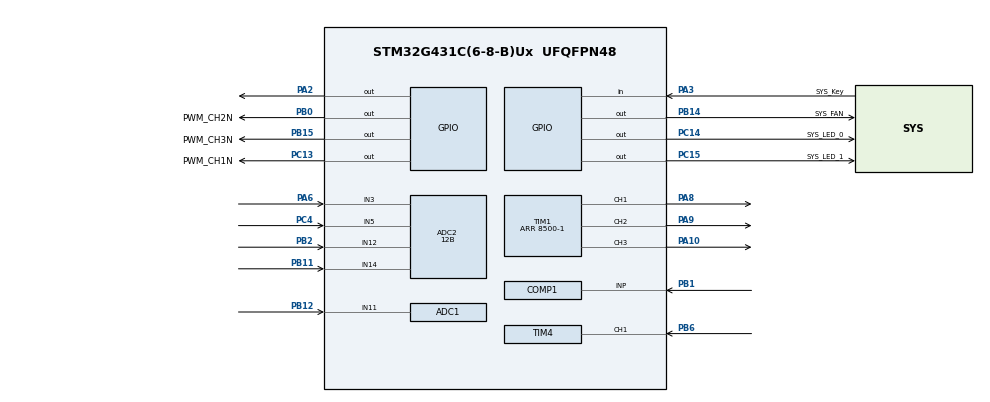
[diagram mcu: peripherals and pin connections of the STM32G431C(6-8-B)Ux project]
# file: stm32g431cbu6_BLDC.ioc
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ADC1.Channel-0\#ChannelRegularConversion=ADC_CHANNEL_11
ADC1.EnableInjectedConversion=ENABLE
ADC1.ExternalTrigInjecConv=ADC_EXTERNALTRIGINJEC_T1_TRGO2
ADC1.ExternalTrigInjecConvEdge=ADC_EXTERNALTRIGINJECCONV_EDGE_FALLING
ADC1.InjNumberOfConversion=1
ADC1.InjectedChannel-1\#ChannelInjectedConversion=ADC_CHANNEL_12
ADC1.InjectedOffsetNumber-1\#ChannelInjectedConversion=ADC_OFFSET_NONE
ADC1.InjectedRank-1\#ChannelInjectedConversion=1
ADC1.InjectedSamplingTime-1\#ChannelInjectedConversion=ADC_SAMPLETIME_2CYCLES_5
ADC1.NbrOfConversion=1
ADC1.NbrOfConversionFlag=1
ADC1.OffsetNumber-0\#ChannelRegularConversion=ADC_OFFSET_NONE
ADC1.Rank-0\#ChannelRegularConversion=1
ADC1.Rank1_Channel=ADC_CHANNEL_12
ADC1.Rank3_Channel=ADC_CHANNEL_11
ADC1.Resolution=ADC_RESOLUTION_12B
ADC1.SamplingTime-0\#ChannelRegularConversion=ADC_SAMPLETIME_6CYCLES_5
ADC1.master=1
ADC2.Channel-8\#ChannelRegularConversion=ADC_CHANNEL_12
ADC2.EnableInjectedConversion=ENABLE
ADC2.EnableRegularConversion=ENABLE
ADC2.ExternalTrigInjecConv=ADC_EXTERNALTRIGINJEC_T1_TRGO2
ADC2.ExternalTrigInjecConvEdge=ADC_EXTERNALTRIGINJECCONV_EDGE_FALLING
ADC2.InjNumberOfConversion=4
ADC2.InjectedChannel-10\#ChannelInjectedConversion=ADC_CHANNEL_3
ADC2.InjectedChannel-11\#ChannelInjectedConversion=ADC_CHANNEL_3
ADC2.InjectedChannel-7\#ChannelInjectedConversion=ADC_CHANNEL_3
ADC2.InjectedChannel-9\#ChannelInjectedConversion=ADC_CHANNEL_3
ADC2.InjectedOffsetNumber-10\#ChannelInjectedConversion=ADC_OFFSET_NONE
ADC2.InjectedOffsetNumber-11\#ChannelInjectedConversion=ADC_OFFSET_NONE
ADC2.InjectedOffsetNumber-7\#ChannelInjectedConversion=ADC_OFFSET_NONE
ADC2.InjectedOffsetNumber-9\#ChannelInjectedConversion=ADC_OFFSET_NONE
ADC2.InjectedRank-10\#ChannelInjectedConversion=3
ADC2.InjectedRank-11\#ChannelInjectedConversion=4
ADC2.InjectedRank-7\#ChannelInjectedConversion=1
ADC2.InjectedRank-9\#ChannelInjectedConversion=2
ADC2.InjectedSamplingTime-10\#ChannelInjectedConversion=ADC_SAMPLETIME_2CYCLES_5
ADC2.InjectedSamplingTime-11\#ChannelInjectedConversion=ADC_SAMPLETIME_2CYCLES_5
ADC2.InjectedSamplingTime-7\#ChannelInjectedConversion=ADC_SAMPLETIME_2CYCLES_5
ADC2.InjectedSamplingTime-9\#ChannelInjectedConversion=ADC_SAMPLETIME_2CYCLES_5
ADC2.NbrOfConversionFlag=1
ADC2.OffsetNumber-8\#ChannelRegularConversion=ADC_OFFSET_NONE
ADC2.Rank-8\#ChannelRegularConversion=1
ADC2.Rank2_Channel=ADC_CHANNEL_3
ADC2.Rank3_Channel=ADC_CHANNEL_3
ADC2.Rank4_Channel=ADC_CHANNEL_3
ADC2.Resolution=ADC_RESOLUTION_12B
ADC2.SamplingTime-8\#ChannelRegularConversion=ADC_SAMPLETIME_6CYCLES_5
COMP1.Hysteresis=COMP_HYSTERESIS_70MV
COMP1.OutputPol=COMP_OUTPUTPOL_NONINVERTED
Dma.Request0=TIM4_CH1
Dma.TIM4_CH1.0.Direction=DMA_PERIPH_TO_MEMORY
Dma.TIM4_CH1.0.EventEnable=DISABLE
Dma.TIM4_CH1.0.Instance=DMA1_Channel1
Dma.TIM4_CH1.0.MemDataAlignment=DMA_MDATAALIGN_HALFWORD
Dma.TIM4_CH1.0.MemInc=DMA_MINC_ENABLE
Dma.TIM4_CH1.0.Mode=DMA_NORMAL
Dma.TIM4_CH1.0.PeriphDataAlignment=DMA_PDATAALIGN_HALFWORD
Dma.TIM4_CH1.0.PeriphInc=DMA_PINC_DISABLE
Dma.TIM4_CH1.0.Polarity=HAL_DMAMUX_REQ_GEN_RISING
Dma.TIM4_CH1.0.Priority=DMA_PRIORITY_LOW
Dma.TIM4_CH1.0.RequestNumber=1
Dma.TIM4_CH1.0.SignalID=NONE
Dma.TIM4_CH1.0.SyncEnable=DISABLE
Dma.TIM4_CH1.0.SyncPolarity=HAL_DMAMUX_SYNC_NO_EVENT
Dma.TIM4_CH1.0.SyncRequestNumber=1
Dma.TIM4_CH1.0.SyncSignalID=NONE
Mcu.Family=STM32G4
Mcu.Name=STM32G431C(6-8-B)Ux
Mcu.Package=UFQFPN48
NVIC.ADC1_2_IRQn=true\:3\:0\:true\:false\:true\:true\:true\:true
NVIC.DMA1_Channel1_IRQn=true\:0\:0\:false\:false\:true\:false\:true\:true
NVIC.PriorityGroup=NVIC_PRIORITYGROUP_4
NVIC.TIM4_IRQn=true\:7\:0\:true\:false\:true\:true\:true\:true
PA10.Signal=S_TIM1_CH3
PA13.Mode=Serial_Wire
PA13.Signal=SYS_JTMS-SWDIO
PA14.Mode=Serial_Wire
PA14.Signal=SYS_JTCK-SWCLK
PA2.GPIO_Speed=GPIO_SPEED_FREQ_VERY_HIGH
PA2.Signal=GPIO_Output
PA3.GPIO_Label=SYS_Key
PA3.Signal=GPIO_Input
PA6.Mode=IN3-Single-Ended
PA6.Signal=ADC2_IN3
PA8.Signal=S_TIM1_CH1
PA9.Signal=S_TIM1_CH2
PB0.GPIO_Label=PWM_CH2N
PB0.GPIO_Speed=GPIO_SPEED_FREQ_LOW
PB0.Signal=GPIO_Output
PB1.Signal=SharedAnalog_PB1
PB11.Mode=IN14-Single-Ended
PB11.Signal=ADC2_IN14
PB12.Mode=IN11-Single-Ended
PB12.Signal=ADC1_IN11
PB14.GPIO_Label=SYS_FAN
PB14.Signal=GPIO_Output
PB15.GPIO_Label=PWM_CH3N
PB15.Signal=GPIO_Output
PB2.Mode=IN12-Single-Ended
PB2.Signal=ADC2_IN12
PB6.Signal=S_TIM4_CH1
PC13.GPIO_Label=PWM_CH1N
PC13.Signal=GPIO_Output
PC14-OSC32_IN.GPIO_Label=SYS_LED_0
PC14-OSC32_IN.Signal=GPIO_Output
PC15-OSC32_OUT.GPIO_Label=SYS_LED_1
PC15-OSC32_OUT.Signal=GPIO_Output
PC4.Mode=IN5-Single-Ended
PC4.Signal=ADC2_IN5
PF0-OSC_IN.Mode=HSE-External-Oscillator
PF0-OSC_IN.Signal=RCC_OSC_IN
PF1-OSC_OUT.Mode=HSE-External-Oscillator
PF1-OSC_OUT.Signal=RCC_OSC_OUT
ProjectManager.HeapSize=0x200
ProjectManager.StackSize=0x400
ProjectManager.TargetToolchain=MDK-ARM V5.32
RCC.ADC12Freq_Value=170000000
RCC.AHBFreq_Value=170000000
RCC.APB1Freq_Value=170000000
RCC.APB1TimFreq_Value=170000000
RCC.APB2Freq_Value=170000000
RCC.APB2TimFreq_Value=170000000
RCC.CK48CLockSelection=RCC_USBCLKSOURCE_HSI48
RCC.CortexFreq_Value=170000000
RCC.EXTERNAL_CLOCK_VALUE=12288000
RCC.HCLKFreq_Value=170000000
RCC.HSE_VALUE=8000000
RCC.HSI48_VALUE=48000000
RCC.HSI_VALUE=16000000
RCC.LSE_VALUE=32768
RCC.PLLM=RCC_PLLM_DIV2
RCC.PLLN=85
RCC.PLLQ=RCC_PLLQ_DIV4
RCC.PLLSourceVirtual=RCC_PLLSOURCE_HSE
RCC.SYSCLKFreq_VALUE=170000000
RCC.SYSCLKSource=RCC_SYSCLKSOURCE_PLLCLK
RCC.USBFreq_Value=48000000
RCC.VCOOutputFreq_Value=340000000
SH.S_TIM1_CH1.0=TIM1_CH1,PWM Generation1 CH1
SH.S_TIM1_CH2.0=TIM1_CH2,PWM Generation2 CH2
SH.S_TIM1_CH3.0=TIM1_CH3,PWM Generation3 CH3
SH.S_TIM4_CH1.0=TIM4_CH1,PWM_Input_1
SH.SharedAnalog_PB1.0=COMP1_INP,INP
SH.SharedAnalog_PB1.1=ADC1_IN12,IN12-Single-Ended
TIM1.Break2State=TIM_BREAK2_DISABLE
TIM1.BreakFilter=8
TIM1.BreakPolarity=TIM_BREAKPOLARITY_HIGH
TIM1.BreakState=TIM_BREAK_ENABLE
TIM1.Channel-PWM\ Generation1\ CH1=TIM_CHANNEL_1
TIM1.Channel-PWM\ Generation2\ CH2=TIM_CHANNEL_2
TIM1.Channel-PWM\ Generation3\ CH3=TIM_CHANNEL_3
TIM1.Channel-PWM\ Generation4\ No\ Output=TIM_CHANNEL_4
TIM1.OC1Preload_PWM=DISABLE
TIM1.OC2Preload_PWM=DISABLE
TIM1.OC3Preload_PWM=DISABLE
TIM1.OC4Preload_PWM=DISABLE
TIM1.PeriodNoDither=8500-1
TIM1.SourceBRKCOMP1=TIM_BREAKINPUTSOURCE_ENABLE
TIM1.SourceBRKCOMP1Polarity=TIM_BREAKINPUTSOURCE_POLARITY_HIGH
TIM1.TIM_MasterOutputTrigger=TIM_TRGO_RESET
TIM1.TIM_MasterOutputTrigger2=TIM_TRGO2_OC4REF
TIM1.TIM_MasterSlaveMode=TIM_MASTERSLAVEMODE_DISABLE
TIM4.Channel-Output\ Compare3\ No\ Output=TIM_CHANNEL_3
TIM4.ICFilter_1=1
TIM4.ICFilter_2=1
TIM4.ICPolarity_1=TIM_INPUTCHANNELPOLARITY_RISING
TIM4.OCMode_3=TIM_OCMODE_ACTIVE
TIM4.PeriodNoDither=65535
VP_ADC1_TempSens_Input.Mode=IN-TempSens
VP_COMP1_VS_DAC1OUT1.Mode=INM_DAC1OUT1
VP_DAC1_VS_DACI1.Mode=DAC_OUT1_Int
VP_SYS_VS_DBSignals.Mode=DisableDeadBatterySignals
VP_SYS_V_VREFBUF.Mode=ExternalMode
VP_TIM1_VS_ClockSourceINT.Mode=Internal
VP_TIM1_VS_no_output4.Mode=PWM Generation4 No Output
VP_TIM4_VS_ClockSourceINT.Mode=Internal
VP_TIM4_VS_no_output3.Mode=Output Compare3 No Output
board=custom

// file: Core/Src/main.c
/* USER CODE BEGIN Header */
/**
  ******************************************************************************
  * @file           : main.c
  * @brief          : Main program body
  ******************************************************************************
  * @attention
  *
  * Copyright (c) 2024 STMicroelectronics.
  * All rights reserved.
  *
  * This software is licensed under terms that can be found in the LICENSE file
  * in the root directory of this software component.
  * If no LICENSE file comes with this software, it is provided AS-IS.
  *
  ******************************************************************************
  */
/* USER CODE END Header */
#include "main.h"

/* USER CODE BEGIN Includes */
#include "dShoot.h"
/* USER CODE END Includes */

void SystemClock_Config(void);
static void MX_GPIO_Init(void);
static void MX_ADC1_Init(void);
static void MX_COMP1_Init(void);
static void MX_DAC1_Init(void);
static void MX_TIM1_Init(void);
static void MX_DMA_Init(void);
static void MX_ADC2_Init(void);
static void MX_TIM4_Init(void);

int main(void)
{

  /* MCU Configuration--------------------------------------------------------*/

  /* Reset of all peripherals, Initializes the Flash interface and the Systick. */
  LL_APB2_GRP1_EnableClock(LL_APB2_GRP1_PERIPH_SYSCFG);
  LL_APB1_GRP1_EnableClock(LL_APB1_GRP1_PERIPH_PWR);

  /* System interrupt init*/
  NVIC_SetPriorityGrouping(NVIC_PRIORITYGROUP_4);

  /* SysTick_IRQn interrupt configuration */
  NVIC_SetPriority(SysTick_IRQn, NVIC_EncodePriority(NVIC_GetPriorityGrouping(),5, 0));

  /** Disable the Internal Voltage Reference buffer
  */
  LL_VREFBUF_Disable();

  /** Configure the internal voltage reference buffer high impedance mode
  */
  LL_VREFBUF_EnableHIZ();

  /** Disable the internal Pull-Up in Dead Battery pins of UCPD peripheral
  */
  LL_PWR_DisableUCPDDeadBattery();

  /* Configure the system clock */
  SystemClock_Config();

  /* USER CODE BEGIN SysInit */
  uint32_t isBootFromMainFlash = READ_BIT(FLASH->SEC1R,FLASH_SEC1R_BOOT_LOCK);
  if(!isBootFromMainFlash){
    WRITE_REG(FLASH->KEYR,0x45670123);
    WRITE_REG(FLASH->KEYR,0xCDEF89AB);
    WRITE_REG(FLASH->OPTKEYR,0x08192A3B);
    WRITE_REG(FLASH->OPTKEYR,0x4C5D6E7F);
    while(READ_BIT(FLASH->SR,FLASH_SR_BSY));
    CLEAR_BIT(FLASH->CR,FLASH_CR_OPTLOCK);
    SET_BIT(FLASH->SEC1R,FLASH_SEC1R_BOOT_LOCK);
    SET_BIT(FLASH->CR,FLASH_CR_OPTSTRT);
    while(READ_BIT(FLASH->SR,FLASH_SR_BSY));
  }
  /* USER CODE END SysInit */

  /* Initialize all configured peripherals */
  MX_DMA_Init();
  MX_GPIO_Init();
  MX_ADC1_Init();
  MX_COMP1_Init();
  MX_DAC1_Init();
  MX_TIM1_Init();
  MX_ADC2_Init();
  MX_TIM4_Init();
  /* USER CODE BEGIN 2 */
  /*===========================TIM15 CH1 CDebug===============================*/
//  LL_TIM_CC_EnableChannel(TIM15,LL_TIM_CHANNEL_CH1);
//	LL_TIM_EnableAllOutputs(TIM15);
//	LL_TIM_EnableCounter(TIM15);
  /*===========================TIM4 CH1 CH2 CH3 dShot Input===============================*/
  LL_DMA_SetPeriphRequest(DMA1, LL_DMA_CHANNEL_1, LL_DMAMUX_REQ_TIM4_CH2);
  LL_TIM_OC_SetCompareCH3(TIM4,283 * 2);
//  LL_TIM_EnableIT_CC2(TIM4);

  LL_DMA_ConfigAddresses(DMA1,LL_DMA_CHANNEL_1,(uint32_t)&TIM4->CCR2,dShoot_GetReceiveBufferAddress(),LL_DMA_DIRECTION_PERIPH_TO_MEMORY);
	LL_TIM_EnableDMAReq_CC2(TIM4);
	LL_DMA_ClearFlag_TC1(DMA1);

  /*===========================OCP===============================*/
  LL_DAC_Enable(DAC1,LL_DAC_CHANNEL_1);
  LL_DAC_ConvertData12RightAligned(DAC1,LL_DAC_CHANNEL_1,3600);
  LL_DAC_TrigSWConversion(DAC1,LL_DAC_CHANNEL_1);
  while(READ_BIT(DAC1->SWTRIGR,(LL_DAC_CHANNEL_1 & DAC_SWTR_CHX_MASK)));
  LL_COMP_Enable(COMP1);
  /*===========================ADC===============================*/
  LL_ADC_StartCalibration(ADC1,LL_ADC_SINGLE_ENDED);
  while(LL_ADC_IsCalibrationOnGoing(ADC1)){

  }
  LL_ADC_StartCalibration(ADC2,LL_ADC_SINGLE_ENDED);
  while(LL_ADC_IsCalibrationOnGoing(ADC2)){

  }
	LL_ADC_INJ_StartConversion(ADC1);
  LL_ADC_Enable(ADC1);
  LL_ADC_INJ_StartConversion(ADC2);
  LL_ADC_Enable(ADC2);
  /*===========================Timer 1 : Driver 3 Phase===============================*/
  LL_TIM_EnableBRK(TIM1);
  /*===========================IT Enable===============================*/
  LL_ADC_EnableIT_JEOS(ADC2);

  LL_TIM_EnableIT_CC3(TIM4);
  LL_TIM_EnableIT_CC1(TIM4);
  LL_TIM_CC_EnableChannel(TIM4,LL_TIM_CHANNEL_CH1);
  LL_TIM_CC_EnableChannel(TIM4,LL_TIM_CHANNEL_CH2);
  LL_TIM_EnableCounter(TIM4);

//  LL_GPIO_SetOutputPin(GPIOB,LL_GPIO_PIN_14);

  LL_SYSTICK_EnableIT();
  NVIC_EnableIRQ(SysTick_IRQn);
  /* USER CODE END 2 */

  /* Infinite loop */
  while (1)
  {

  }
}

void SystemClock_Config(void)
{
  LL_FLASH_SetLatency(LL_FLASH_LATENCY_4);
  while(LL_FLASH_GetLatency() != LL_FLASH_LATENCY_4)
  {
  }
  LL_PWR_EnableRange1BoostMode();
  LL_RCC_HSE_Enable();
   /* Wait till HSE is ready */
  while(LL_RCC_HSE_IsReady() != 1)
  {
  }

  LL_RCC_PLL_ConfigDomain_SYS(LL_RCC_PLLSOURCE_HSE, LL_RCC_PLLM_DIV_2, 85, LL_RCC_PLLR_DIV_2);
  LL_RCC_PLL_EnableDomain_SYS();
  LL_RCC_PLL_Enable();
   /* Wait till PLL is ready */
  while(LL_RCC_PLL_IsReady() != 1)
  {
  }

  LL_RCC_SetSysClkSource(LL_RCC_SYS_CLKSOURCE_PLL);
  LL_RCC_SetAHBPrescaler(LL_RCC_SYSCLK_DIV_2);
   /* Wait till System clock is ready */
  while(LL_RCC_GetSysClkSource() != LL_RCC_SYS_CLKSOURCE_STATUS_PLL)
  {
  }

  /* Insure 1?s transition state at intermediate medium speed clock based on DWT */
  CoreDebug->DEMCR |= CoreDebug_DEMCR_TRCENA_Msk;
  DWT->CTRL |= DWT_CTRL_CYCCNTENA_Msk;
  DWT->CYCCNT = 0;
  while(DWT->CYCCNT < 100);
  /* Set AHB prescaler*/
  LL_RCC_SetAHBPrescaler(LL_RCC_SYSCLK_DIV_1);
  LL_RCC_SetAPB1Prescaler(LL_RCC_APB1_DIV_1);
  LL_RCC_SetAPB2Prescaler(LL_RCC_APB2_DIV_1);

  LL_Init1msTick(170000000);

  LL_SetSystemCoreClock(170000000);
}

static void MX_ADC1_Init(void)
{

  LL_ADC_InitTypeDef ADC_InitStruct = {0};
  LL_ADC_REG_InitTypeDef ADC_REG_InitStruct = {0};
  LL_ADC_CommonInitTypeDef ADC_CommonInitStruct = {0};
  LL_ADC_INJ_InitTypeDef ADC_INJ_InitStruct = {0};

  LL_GPIO_InitTypeDef GPIO_InitStruct = {0};

  LL_RCC_SetADCClockSource(LL_RCC_ADC12_CLKSOURCE_SYSCLK);

  /* Peripheral clock enable */
  LL_AHB2_GRP1_EnableClock(LL_AHB2_GRP1_PERIPH_ADC12);

  LL_AHB2_GRP1_EnableClock(LL_AHB2_GRP1_PERIPH_GPIOB);
  /**ADC1 GPIO Configuration
  PB1   ------> ADC1_IN12
  PB12   ------> ADC1_IN11
  */
  GPIO_InitStruct.Pin = LL_GPIO_PIN_1;
  GPIO_InitStruct.Mode = LL_GPIO_MODE_ANALOG;
  GPIO_InitStruct.Pull = LL_GPIO_PULL_NO;
  LL_GPIO_Init(GPIOB, &GPIO_InitStruct);

  GPIO_InitStruct.Pin = LL_GPIO_PIN_12;
  GPIO_InitStruct.Mode = LL_GPIO_MODE_ANALOG;
  GPIO_InitStruct.Pull = LL_GPIO_PULL_NO;
  LL_GPIO_Init(GPIOB, &GPIO_InitStruct);

  /* ADC1 interrupt Init */
  NVIC_SetPriority(ADC1_2_IRQn, NVIC_EncodePriority(NVIC_GetPriorityGrouping(),3, 0));
  NVIC_EnableIRQ(ADC1_2_IRQn);

  /** Common config
  */
  ADC_InitStruct.Resolution = LL_ADC_RESOLUTION_12B;
  ADC_InitStruct.DataAlignment = LL_ADC_DATA_ALIGN_RIGHT;
  ADC_InitStruct.LowPowerMode = LL_ADC_LP_MODE_NONE;
  LL_ADC_Init(ADC1, &ADC_InitStruct);
  ADC_REG_InitStruct.TriggerSource = LL_ADC_REG_TRIG_SOFTWARE;
  ADC_REG_InitStruct.SequencerLength = LL_ADC_REG_SEQ_SCAN_DISABLE;
  ADC_REG_InitStruct.SequencerDiscont = LL_ADC_REG_SEQ_DISCONT_DISABLE;
  ADC_REG_InitStruct.ContinuousMode = LL_ADC_REG_CONV_SINGLE;
  ADC_REG_InitStruct.DMATransfer = LL_ADC_REG_DMA_TRANSFER_NONE;
  ADC_REG_InitStruct.Overrun = LL_ADC_REG_OVR_DATA_PRESERVED;
  LL_ADC_REG_Init(ADC1, &ADC_REG_InitStruct);
  LL_ADC_SetGainCompensation(ADC1, 0);
  LL_ADC_SetOverSamplingScope(ADC1, LL_ADC_OVS_DISABLE);
  ADC_CommonInitStruct.CommonClock = LL_ADC_CLOCK_SYNC_PCLK_DIV4;
  ADC_CommonInitStruct.Multimode = LL_ADC_MULTI_INDEPENDENT;
  LL_ADC_CommonInit(__LL_ADC_COMMON_INSTANCE(ADC1), &ADC_CommonInitStruct);
  ADC_INJ_InitStruct.TriggerSource = LL_ADC_INJ_TRIG_EXT_TIM1_TRGO2;
  ADC_INJ_InitStruct.SequencerLength = LL_ADC_INJ_SEQ_SCAN_DISABLE;
  ADC_INJ_InitStruct.SequencerDiscont = LL_ADC_INJ_SEQ_DISCONT_DISABLE;
  ADC_INJ_InitStruct.TrigAuto = LL_ADC_INJ_TRIG_INDEPENDENT;
  LL_ADC_INJ_Init(ADC1, &ADC_INJ_InitStruct);
  LL_ADC_INJ_SetQueueMode(ADC1, LL_ADC_INJ_QUEUE_DISABLE);
  LL_ADC_INJ_SetTriggerEdge(ADC1, LL_ADC_INJ_TRIG_EXT_FALLING);

  /* Disable ADC deep power down (enabled by default after reset state) */
  LL_ADC_DisableDeepPowerDown(ADC1);
  /* Enable ADC internal voltage regulator */
  LL_ADC_EnableInternalRegulator(ADC1);
  /* Delay for ADC internal voltage regulator stabilization. */
  /* Compute number of CPU cycles to wait for, from delay in us. */
  /* Note: Variable divided by 2 to compensate partially */
  /* CPU processing cycles (depends on compilation optimization). */
  /* Note: If system core clock frequency is below 200kHz, wait time */
  /* is only a few CPU processing cycles. */
  uint32_t wait_loop_index;
  wait_loop_index = ((LL_ADC_DELAY_INTERNAL_REGUL_STAB_US * (SystemCoreClock / (100000 * 2))) / 10);
  while(wait_loop_index != 0)
  {
    wait_loop_index--;
  }

  /** Configure Regular Channel
  */
  LL_ADC_REG_SetSequencerRanks(ADC1, LL_ADC_REG_RANK_1, LL_ADC_CHANNEL_11);
  LL_ADC_SetChannelSamplingTime(ADC1, LL_ADC_CHANNEL_11, LL_ADC_SAMPLINGTIME_6CYCLES_5);
  LL_ADC_SetChannelSingleDiff(ADC1, LL_ADC_CHANNEL_11, LL_ADC_SINGLE_ENDED);

  /** Configure Injected Channel
  */
  LL_ADC_INJ_SetSequencerRanks(ADC1, LL_ADC_INJ_RANK_1, LL_ADC_CHANNEL_12);
  LL_ADC_SetChannelSamplingTime(ADC1, LL_ADC_CHANNEL_12, LL_ADC_SAMPLINGTIME_2CYCLES_5);
  LL_ADC_SetChannelSingleDiff(ADC1, LL_ADC_CHANNEL_12, LL_ADC_SINGLE_ENDED);

}

static void MX_ADC2_Init(void)
{

  LL_ADC_InitTypeDef ADC_InitStruct = {0};
  LL_ADC_REG_InitTypeDef ADC_REG_InitStruct = {0};
  LL_ADC_INJ_InitTypeDef ADC_INJ_InitStruct = {0};

  LL_GPIO_InitTypeDef GPIO_InitStruct = {0};

  LL_RCC_SetADCClockSource(LL_RCC_ADC12_CLKSOURCE_SYSCLK);

  /* Peripheral clock enable */
  LL_AHB2_GRP1_EnableClock(LL_AHB2_GRP1_PERIPH_ADC12);

  LL_AHB2_GRP1_EnableClock(LL_AHB2_GRP1_PERIPH_GPIOA);
  LL_AHB2_GRP1_EnableClock(LL_AHB2_GRP1_PERIPH_GPIOC);
  LL_AHB2_GRP1_EnableClock(LL_AHB2_GRP1_PERIPH_GPIOB);
  /**ADC2 GPIO Configuration
  PA6   ------> ADC2_IN3
  PC4   ------> ADC2_IN5
  PB2   ------> ADC2_IN12
  PB11   ------> ADC2_IN14
  */
  GPIO_InitStruct.Pin = LL_GPIO_PIN_6;
  GPIO_InitStruct.Mode = LL_GPIO_MODE_ANALOG;
  GPIO_InitStruct.Pull = LL_GPIO_PULL_NO;
  LL_GPIO_Init(GPIOA, &GPIO_InitStruct);

  GPIO_InitStruct.Pin = LL_GPIO_PIN_4;
  GPIO_InitStruct.Mode = LL_GPIO_MODE_ANALOG;
  GPIO_InitStruct.Pull = LL_GPIO_PULL_NO;
  LL_GPIO_Init(GPIOC, &GPIO_InitStruct);

  GPIO_InitStruct.Pin = LL_GPIO_PIN_2;
  GPIO_InitStruct.Mode = LL_GPIO_MODE_ANALOG;
  GPIO_InitStruct.Pull = LL_GPIO_PULL_NO;
  LL_GPIO_Init(GPIOB, &GPIO_InitStruct);

  GPIO_InitStruct.Pin = LL_GPIO_PIN_11;
  GPIO_InitStruct.Mode = LL_GPIO_MODE_ANALOG;
  GPIO_InitStruct.Pull = LL_GPIO_PULL_NO;
  LL_GPIO_Init(GPIOB, &GPIO_InitStruct);

  /* ADC2 interrupt Init */
  NVIC_SetPriority(ADC1_2_IRQn, NVIC_EncodePriority(NVIC_GetPriorityGrouping(),3, 0));
  NVIC_EnableIRQ(ADC1_2_IRQn);

  /** Common config
  */
  ADC_InitStruct.Resolution = LL_ADC_RESOLUTION_12B;
  ADC_InitStruct.DataAlignment = LL_ADC_DATA_ALIGN_RIGHT;
  ADC_InitStruct.LowPowerMode = LL_ADC_LP_MODE_NONE;
  LL_ADC_Init(ADC2, &ADC_InitStruct);
  ADC_REG_InitStruct.TriggerSource = LL_ADC_REG_TRIG_SOFTWARE;
  ADC_REG_InitStruct.SequencerLength = LL_ADC_REG_SEQ_SCAN_DISABLE;
  ADC_REG_InitStruct.SequencerDiscont = LL_ADC_REG_SEQ_DISCONT_DISABLE;
  ADC_REG_InitStruct.ContinuousMode = LL_ADC_REG_CONV_SINGLE;
  ADC_REG_InitStruct.DMATransfer = LL_ADC_REG_DMA_TRANSFER_NONE;
  ADC_REG_InitStruct.Overrun = LL_ADC_REG_OVR_DATA_PRESERVED;
  LL_ADC_REG_Init(ADC2, &ADC_REG_InitStruct);
  LL_ADC_SetGainCompensation(ADC2, 0);
  LL_ADC_SetOverSamplingScope(ADC2, LL_ADC_OVS_DISABLE);
  ADC_INJ_InitStruct.TriggerSource = LL_ADC_INJ_TRIG_EXT_TIM1_TRGO2;
  ADC_INJ_InitStruct.SequencerLength = LL_ADC_INJ_SEQ_SCAN_ENABLE_4RANKS;
  ADC_INJ_InitStruct.SequencerDiscont = LL_ADC_INJ_SEQ_DISCONT_DISABLE;
  ADC_INJ_InitStruct.TrigAuto = LL_ADC_INJ_TRIG_INDEPENDENT;
  LL_ADC_INJ_Init(ADC2, &ADC_INJ_InitStruct);
  LL_ADC_INJ_SetQueueMode(ADC2, LL_ADC_INJ_QUEUE_DISABLE);
  LL_ADC_INJ_SetTriggerEdge(ADC2, LL_ADC_INJ_TRIG_EXT_FALLING);

  /* Disable ADC deep power down (enabled by default after reset state) */
  LL_ADC_DisableDeepPowerDown(ADC2);
  /* Enable ADC internal voltage regulator */
  LL_ADC_EnableInternalRegulator(ADC2);
  /* Delay for ADC internal voltage regulator stabilization. */
  /* Compute number of CPU cycles to wait for, from delay in us. */
  /* Note: Variable divided by 2 to compensate partially */
  /* CPU processing cycles (depends on compilation optimization). */
  /* Note: If system core clock frequency is below 200kHz, wait time */
  /* is only a few CPU processing cycles. */
  uint32_t wait_loop_index;
  wait_loop_index = ((LL_ADC_DELAY_INTERNAL_REGUL_STAB_US * (SystemCoreClock / (100000 * 2))) / 10);
  while(wait_loop_index != 0)
  {
    wait_loop_index--;
  }

  /** Configure Injected Channel
  */
  LL_ADC_INJ_SetSequencerRanks(ADC2, LL_ADC_INJ_RANK_1, LL_ADC_CHANNEL_3);
  LL_ADC_SetChannelSamplingTime(ADC2, LL_ADC_CHANNEL_3, LL_ADC_SAMPLINGTIME_2CYCLES_5);
  LL_ADC_SetChannelSingleDiff(ADC2, LL_ADC_CHANNEL_3, LL_ADC_SINGLE_ENDED);

  /** Configure Regular Channel
  */
  LL_ADC_REG_SetSequencerRanks(ADC2, LL_ADC_REG_RANK_1, LL_ADC_CHANNEL_12);
  LL_ADC_SetChannelSamplingTime(ADC2, LL_ADC_CHANNEL_12, LL_ADC_SAMPLINGTIME_6CYCLES_5);
  LL_ADC_SetChannelSingleDiff(ADC2, LL_ADC_CHANNEL_12, LL_ADC_SINGLE_ENDED);

  /** Configure Injected Channel
  */
  LL_ADC_INJ_SetSequencerRanks(ADC2, LL_ADC_INJ_RANK_2, LL_ADC_CHANNEL_3);
  LL_ADC_SetChannelSamplingTime(ADC2, LL_ADC_CHANNEL_3, LL_ADC_SAMPLINGTIME_2CYCLES_5);
  LL_ADC_SetChannelSingleDiff(ADC2, LL_ADC_CHANNEL_3, LL_ADC_SINGLE_ENDED);

  /** Configure Injected Channel
  */
  LL_ADC_INJ_SetSequencerRanks(ADC2, LL_ADC_INJ_RANK_3, LL_ADC_CHANNEL_3);
  LL_ADC_SetChannelSamplingTime(ADC2, LL_ADC_CHANNEL_3, LL_ADC_SAMPLINGTIME_2CYCLES_5);
  LL_ADC_SetChannelSingleDiff(ADC2, LL_ADC_CHANNEL_3, LL_ADC_SINGLE_ENDED);

  /** Configure Injected Channel
  */
  LL_ADC_INJ_SetSequencerRanks(ADC2, LL_ADC_INJ_RANK_4, LL_ADC_CHANNEL_3);
  LL_ADC_SetChannelSamplingTime(ADC2, LL_ADC_CHANNEL_3, LL_ADC_SAMPLINGTIME_2CYCLES_5);
  LL_ADC_SetChannelSingleDiff(ADC2, LL_ADC_CHANNEL_3, LL_ADC_SINGLE_ENDED);

}

static void MX_COMP1_Init(void)
{

  LL_COMP_InitTypeDef COMP_InitStruct = {0};

  LL_GPIO_InitTypeDef GPIO_InitStruct = {0};

  LL_AHB2_GRP1_EnableClock(LL_AHB2_GRP1_PERIPH_GPIOB);
  /**COMP1 GPIO Configuration
  PB1   ------> COMP1_INP
  */
  GPIO_InitStruct.Pin = LL_GPIO_PIN_1;
  GPIO_InitStruct.Mode = LL_GPIO_MODE_ANALOG;
  GPIO_InitStruct.Pull = LL_GPIO_PULL_NO;
  LL_GPIO_Init(GPIOB, &GPIO_InitStruct);

  COMP_InitStruct.InputPlus = LL_COMP_INPUT_PLUS_IO2;
  COMP_InitStruct.InputMinus = LL_COMP_INPUT_MINUS_DAC1_CH1;
  COMP_InitStruct.InputHysteresis = LL_COMP_HYSTERESIS_70MV;
  COMP_InitStruct.OutputPolarity = LL_COMP_OUTPUTPOL_NONINVERTED;
  COMP_InitStruct.OutputBlankingSource = LL_COMP_BLANKINGSRC_NONE;
  LL_COMP_Init(COMP1, &COMP_InitStruct);

  /* Wait loop initialization and execution */
  /* Note: Variable divided by 2 to compensate partially CPU processing cycles */
  __IO uint32_t wait_loop_index = 0;
  wait_loop_index = (LL_COMP_DELAY_VOLTAGE_SCALER_STAB_US * (SystemCoreClock / (1000000 * 2)));
  while(wait_loop_index != 0)
  {
    wait_loop_index--;
  }
  LL_EXTI_DisableEvent_0_31(LL_EXTI_LINE_21);
  LL_EXTI_DisableIT_0_31(LL_EXTI_LINE_21);

}

static void MX_DAC1_Init(void)
{

  LL_DAC_InitTypeDef DAC_InitStruct = {0};

  /* Peripheral clock enable */
  LL_AHB2_GRP1_EnableClock(LL_AHB2_GRP1_PERIPH_DAC1);

  /** DAC channel OUT1 config
  */
  LL_DAC_SetSignedFormat(DAC1, LL_DAC_CHANNEL_1, LL_DAC_SIGNED_FORMAT_DISABLE);
  DAC_InitStruct.TriggerSource = LL_DAC_TRIG_SOFTWARE;
  DAC_InitStruct.TriggerSource2 = LL_DAC_TRIG_SOFTWARE;
  DAC_InitStruct.WaveAutoGeneration = LL_DAC_WAVE_AUTO_GENERATION_NONE;
  DAC_InitStruct.OutputBuffer = LL_DAC_OUTPUT_BUFFER_DISABLE;
  DAC_InitStruct.OutputConnection = LL_DAC_OUTPUT_CONNECT_INTERNAL;
  DAC_InitStruct.OutputMode = LL_DAC_OUTPUT_MODE_NORMAL;
  LL_DAC_Init(DAC1, LL_DAC_CHANNEL_1, &DAC_InitStruct);
  LL_DAC_DisableTrigger(DAC1, LL_DAC_CHANNEL_1);
  LL_DAC_DisableDMADoubleDataMode(DAC1, LL_DAC_CHANNEL_1);

}

static void MX_TIM1_Init(void)
{

  LL_TIM_InitTypeDef TIM_InitStruct = {0};
  LL_TIM_OC_InitTypeDef TIM_OC_InitStruct = {0};
  LL_TIM_BDTR_InitTypeDef TIM_BDTRInitStruct = {0};

  LL_GPIO_InitTypeDef GPIO_InitStruct = {0};

  /* Peripheral clock enable */
  LL_APB2_GRP1_EnableClock(LL_APB2_GRP1_PERIPH_TIM1);

  TIM_InitStruct.Prescaler = 0;
  TIM_InitStruct.CounterMode = LL_TIM_COUNTERMODE_UP;
  TIM_InitStruct.Autoreload = 8499;
  TIM_InitStruct.ClockDivision = LL_TIM_CLOCKDIVISION_DIV1;
  TIM_InitStruct.RepetitionCounter = 0;
  LL_TIM_Init(TIM1, &TIM_InitStruct);
  LL_TIM_DisableARRPreload(TIM1);
  LL_TIM_SetClockSource(TIM1, LL_TIM_CLOCKSOURCE_INTERNAL);
  LL_TIM_OC_EnablePreload(TIM1, LL_TIM_CHANNEL_CH1);
  TIM_OC_InitStruct.OCMode = LL_TIM_OCMODE_PWM1;
  TIM_OC_InitStruct.OCState = LL_TIM_OCSTATE_DISABLE;
  TIM_OC_InitStruct.OCNState = LL_TIM_OCSTATE_DISABLE;
  TIM_OC_InitStruct.CompareValue = 0;
  TIM_OC_InitStruct.OCPolarity = LL_TIM_OCPOLARITY_HIGH;
  TIM_OC_InitStruct.OCNPolarity = LL_TIM_OCPOLARITY_HIGH;
  TIM_OC_InitStruct.OCIdleState = LL_TIM_OCIDLESTATE_LOW;
  TIM_OC_InitStruct.OCNIdleState = LL_TIM_OCIDLESTATE_LOW;
  LL_TIM_OC_Init(TIM1, LL_TIM_CHANNEL_CH1, &TIM_OC_InitStruct);
  LL_TIM_OC_DisableFast(TIM1, LL_TIM_CHANNEL_CH1);
  LL_TIM_OC_EnablePreload(TIM1, LL_TIM_CHANNEL_CH2);
  LL_TIM_OC_Init(TIM1, LL_TIM_CHANNEL_CH2, &TIM_OC_InitStruct);
  LL_TIM_OC_DisableFast(TIM1, LL_TIM_CHANNEL_CH2);
  LL_TIM_OC_EnablePreload(TIM1, LL_TIM_CHANNEL_CH3);
  LL_TIM_OC_Init(TIM1, LL_TIM_CHANNEL_CH3, &TIM_OC_InitStruct);
  LL_TIM_OC_DisableFast(TIM1, LL_TIM_CHANNEL_CH3);
  LL_TIM_OC_EnablePreload(TIM1, LL_TIM_CHANNEL_CH4);
  LL_TIM_OC_Init(TIM1, LL_TIM_CHANNEL_CH4, &TIM_OC_InitStruct);
  LL_TIM_OC_DisableFast(TIM1, LL_TIM_CHANNEL_CH4);
  LL_TIM_SetTriggerOutput(TIM1, LL_TIM_TRGO_RESET);
  LL_TIM_SetTriggerOutput2(TIM1, LL_TIM_TRGO2_OC4);
  LL_TIM_DisableMasterSlaveMode(TIM1);
  LL_TIM_SetBreakInputSourcePolarity(TIM1, LL_TIM_BREAK_INPUT_BKIN, LL_TIM_BKIN_SOURCE_BKCOMP1, LL_TIM_BKIN_POLARITY_HIGH);
  LL_TIM_EnableBreakInputSource(TIM1, LL_TIM_BREAK_INPUT_BKIN, LL_TIM_BKIN_SOURCE_BKCOMP1);
  LL_TIM_OC_DisablePreload(TIM1, LL_TIM_CHANNEL_CH1);
  LL_TIM_OC_DisablePreload(TIM1, LL_TIM_CHANNEL_CH2);
  LL_TIM_OC_DisablePreload(TIM1, LL_TIM_CHANNEL_CH3);
  LL_TIM_OC_DisablePreload(TIM1, LL_TIM_CHANNEL_CH4);
  TIM_BDTRInitStruct.OSSRState = LL_TIM_OSSR_DISABLE;
  TIM_BDTRInitStruct.OSSIState = LL_TIM_OSSI_DISABLE;
  TIM_BDTRInitStruct.LockLevel = LL_TIM_LOCKLEVEL_OFF;
  TIM_BDTRInitStruct.DeadTime = 0;
  TIM_BDTRInitStruct.BreakState = LL_TIM_BREAK_ENABLE;
  TIM_BDTRInitStruct.BreakPolarity = LL_TIM_BREAK_POLARITY_HIGH;
  TIM_BDTRInitStruct.BreakFilter = LL_TIM_BREAK_FILTER_FDIV8_N6;
  TIM_BDTRInitStruct.BreakAFMode = LL_TIM_BREAK_AFMODE_INPUT;
  TIM_BDTRInitStruct.Break2State = LL_TIM_BREAK2_DISABLE;
  TIM_BDTRInitStruct.Break2Polarity = LL_TIM_BREAK2_POLARITY_HIGH;
  TIM_BDTRInitStruct.Break2Filter = LL_TIM_BREAK2_FILTER_FDIV1;
  TIM_BDTRInitStruct.Break2AFMode = LL_TIM_BREAK_AFMODE_INPUT;
  TIM_BDTRInitStruct.AutomaticOutput = LL_TIM_AUTOMATICOUTPUT_DISABLE;
  LL_TIM_BDTR_Init(TIM1, &TIM_BDTRInitStruct);
  LL_AHB2_GRP1_EnableClock(LL_AHB2_GRP1_PERIPH_GPIOA);
  /**TIM1 GPIO Configuration
  PA8   ------> TIM1_CH1
  PA9   ------> TIM1_CH2
  PA10   ------> TIM1_CH3
  */
  GPIO_InitStruct.Pin = LL_GPIO_PIN_8;
  GPIO_InitStruct.Mode = LL_GPIO_MODE_ALTERNATE;
  GPIO_InitStruct.Speed = LL_GPIO_SPEED_FREQ_LOW;
  GPIO_InitStruct.OutputType = LL_GPIO_OUTPUT_PUSHPULL;
  GPIO_InitStruct.Pull = LL_GPIO_PULL_NO;
  GPIO_InitStruct.Alternate = LL_GPIO_AF_6;
  LL_GPIO_Init(GPIOA, &GPIO_InitStruct);

  GPIO_InitStruct.Pin = LL_GPIO_PIN_9;
  GPIO_InitStruct.Mode = LL_GPIO_MODE_ALTERNATE;
  GPIO_InitStruct.Speed = LL_GPIO_SPEED_FREQ_LOW;
  GPIO_InitStruct.OutputType = LL_GPIO_OUTPUT_PUSHPULL;
  GPIO_InitStruct.Pull = LL_GPIO_PULL_NO;
  GPIO_InitStruct.Alternate = LL_GPIO_AF_6;
  LL_GPIO_Init(GPIOA, &GPIO_InitStruct);

  GPIO_InitStruct.Pin = LL_GPIO_PIN_10;
  GPIO_InitStruct.Mode = LL_GPIO_MODE_ALTERNATE;
  GPIO_InitStruct.Speed = LL_GPIO_SPEED_FREQ_LOW;
  GPIO_InitStruct.OutputType = LL_GPIO_OUTPUT_PUSHPULL;
  GPIO_InitStruct.Pull = LL_GPIO_PULL_NO;
  GPIO_InitStruct.Alternate = LL_GPIO_AF_6;
  LL_GPIO_Init(GPIOA, &GPIO_InitStruct);

}

static void MX_TIM4_Init(void)
{

  LL_TIM_InitTypeDef TIM_InitStruct = {0};
  LL_TIM_OC_InitTypeDef TIM_OC_InitStruct = {0};

  LL_GPIO_InitTypeDef GPIO_InitStruct = {0};

  /* Peripheral clock enable */
  LL_APB1_GRP1_EnableClock(LL_APB1_GRP1_PERIPH_TIM4);

  LL_AHB2_GRP1_EnableClock(LL_AHB2_GRP1_PERIPH_GPIOB);
  /**TIM4 GPIO Configuration
  PB6   ------> TIM4_CH1
  */
  GPIO_InitStruct.Pin = LL_GPIO_PIN_6;
  GPIO_InitStruct.Mode = LL_GPIO_MODE_ALTERNATE;
  GPIO_InitStruct.Speed = LL_GPIO_SPEED_FREQ_LOW;
  GPIO_InitStruct.OutputType = LL_GPIO_OUTPUT_PUSHPULL;
  GPIO_InitStruct.Pull = LL_GPIO_PULL_NO;
  GPIO_InitStruct.Alternate = LL_GPIO_AF_2;
  LL_GPIO_Init(GPIOB, &GPIO_InitStruct);

  /* TIM4 DMA Init */

  /* TIM4_CH1 Init */
  LL_DMA_SetPeriphRequest(DMA1, LL_DMA_CHANNEL_1, LL_DMAMUX_REQ_TIM4_CH1);

  LL_DMA_SetDataTransferDirection(DMA1, LL_DMA_CHANNEL_1, LL_DMA_DIRECTION_PERIPH_TO_MEMORY);

  LL_DMA_SetChannelPriorityLevel(DMA1, LL_DMA_CHANNEL_1, LL_DMA_PRIORITY_LOW);

  LL_DMA_SetMode(DMA1, LL_DMA_CHANNEL_1, LL_DMA_MODE_NORMAL);

  LL_DMA_SetPeriphIncMode(DMA1, LL_DMA_CHANNEL_1, LL_DMA_PERIPH_NOINCREMENT);

  LL_DMA_SetMemoryIncMode(DMA1, LL_DMA_CHANNEL_1, LL_DMA_MEMORY_INCREMENT);

  LL_DMA_SetPeriphSize(DMA1, LL_DMA_CHANNEL_1, LL_DMA_PDATAALIGN_HALFWORD);

  LL_DMA_SetMemorySize(DMA1, LL_DMA_CHANNEL_1, LL_DMA_MDATAALIGN_HALFWORD);

  /* TIM4 interrupt Init */
  NVIC_SetPriority(TIM4_IRQn, NVIC_EncodePriority(NVIC_GetPriorityGrouping(),7, 0));
  NVIC_EnableIRQ(TIM4_IRQn);

  TIM_InitStruct.Prescaler = 0;
  TIM_InitStruct.CounterMode = LL_TIM_COUNTERMODE_UP;
  TIM_InitStruct.Autoreload = 65535;
  TIM_InitStruct.ClockDivision = LL_TIM_CLOCKDIVISION_DIV1;
  LL_TIM_Init(TIM4, &TIM_InitStruct);
  LL_TIM_DisableARRPreload(TIM4);
  LL_TIM_SetClockSource(TIM4, LL_TIM_CLOCKSOURCE_INTERNAL);
  TIM_OC_InitStruct.OCMode = LL_TIM_OCMODE_ACTIVE;
  TIM_OC_InitStruct.OCState = LL_TIM_OCSTATE_DISABLE;
  TIM_OC_InitStruct.OCNState = LL_TIM_OCSTATE_DISABLE;
  TIM_OC_InitStruct.CompareValue = 0;
  TIM_OC_InitStruct.OCPolarity = LL_TIM_OCPOLARITY_HIGH;
  LL_TIM_OC_Init(TIM4, LL_TIM_CHANNEL_CH3, &TIM_OC_InitStruct);
  LL_TIM_OC_DisableFast(TIM4, LL_TIM_CHANNEL_CH3);
  LL_TIM_SetTriggerInput(TIM4, LL_TIM_TS_TI1FP1);
  LL_TIM_SetSlaveMode(TIM4, LL_TIM_SLAVEMODE_RESET);
  LL_TIM_CC_DisableChannel(TIM4, LL_TIM_CHANNEL_CH1);
  LL_TIM_IC_SetFilter(TIM4, LL_TIM_CHANNEL_CH1, LL_TIM_IC_FILTER_FDIV1_N2);
  LL_TIM_IC_SetPolarity(TIM4, LL_TIM_CHANNEL_CH1, LL_TIM_IC_POLARITY_RISING);
  LL_TIM_DisableIT_TRIG(TIM4);
  LL_TIM_DisableDMAReq_TRIG(TIM4);
  LL_TIM_IC_SetActiveInput(TIM4, LL_TIM_CHANNEL_CH1, LL_TIM_ACTIVEINPUT_DIRECTTI);
  LL_TIM_IC_SetPrescaler(TIM4, LL_TIM_CHANNEL_CH1, LL_TIM_ICPSC_DIV1);
  LL_TIM_IC_SetActiveInput(TIM4, LL_TIM_CHANNEL_CH2, LL_TIM_ACTIVEINPUT_INDIRECTTI);
  LL_TIM_IC_SetPrescaler(TIM4, LL_TIM_CHANNEL_CH2, LL_TIM_ICPSC_DIV1);
  LL_TIM_IC_SetFilter(TIM4, LL_TIM_CHANNEL_CH2, LL_TIM_IC_FILTER_FDIV1_N2);
  LL_TIM_IC_SetPolarity(TIM4, LL_TIM_CHANNEL_CH2, LL_TIM_IC_POLARITY_FALLING);
  LL_TIM_SetTriggerOutput(TIM4, LL_TIM_TRGO_RESET);
  LL_TIM_DisableMasterSlaveMode(TIM4);

}

static void MX_DMA_Init(void)
{

  /* Init with LL driver */
  /* DMA controller clock enable */
  LL_AHB1_GRP1_EnableClock(LL_AHB1_GRP1_PERIPH_DMAMUX1);
  LL_AHB1_GRP1_EnableClock(LL_AHB1_GRP1_PERIPH_DMA1);

  /* DMA interrupt init */
  /* DMA1_Channel1_IRQn interrupt configuration */
  NVIC_SetPriority(DMA1_Channel1_IRQn, NVIC_EncodePriority(NVIC_GetPriorityGrouping(),0, 0));
  NVIC_EnableIRQ(DMA1_Channel1_IRQn);

}

static void MX_GPIO_Init(void)
{
  LL_GPIO_InitTypeDef GPIO_InitStruct = {0};

  /* GPIO Ports Clock Enable */
  LL_AHB2_GRP1_EnableClock(LL_AHB2_GRP1_PERIPH_GPIOC);
  LL_AHB2_GRP1_EnableClock(LL_AHB2_GRP1_PERIPH_GPIOF);
  LL_AHB2_GRP1_EnableClock(LL_AHB2_GRP1_PERIPH_GPIOA);
  LL_AHB2_GRP1_EnableClock(LL_AHB2_GRP1_PERIPH_GPIOB);

  /**/
  LL_GPIO_ResetOutputPin(PWM_CH1N_GPIO_Port, PWM_CH1N_Pin);

  /**/
  LL_GPIO_ResetOutputPin(SYS_LED_0_GPIO_Port, SYS_LED_0_Pin);

  /**/
  LL_GPIO_ResetOutputPin(SYS_LED_1_GPIO_Port, SYS_LED_1_Pin);

  /**/
  LL_GPIO_ResetOutputPin(GPIOA, LL_GPIO_PIN_2);

  /**/
  LL_GPIO_ResetOutputPin(PWM_CH2N_GPIO_Port, PWM_CH2N_Pin);

  /**/
  LL_GPIO_ResetOutputPin(SYS_FAN_GPIO_Port, SYS_FAN_Pin);

  /**/
  LL_GPIO_ResetOutputPin(PWM_CH3N_GPIO_Port, PWM_CH3N_Pin);

  /**/
  GPIO_InitStruct.Pin = PWM_CH1N_Pin;
  GPIO_InitStruct.Mode = LL_GPIO_MODE_OUTPUT;
  GPIO_InitStruct.Speed = LL_GPIO_SPEED_FREQ_LOW;
  GPIO_InitStruct.OutputType = LL_GPIO_OUTPUT_PUSHPULL;
  GPIO_InitStruct.Pull = LL_GPIO_PULL_NO;
  LL_GPIO_Init(PWM_CH1N_GPIO_Port, &GPIO_InitStruct);

  /**/
  GPIO_InitStruct.Pin = SYS_LED_0_Pin;
  GPIO_InitStruct.Mode = LL_GPIO_MODE_OUTPUT;
  GPIO_InitStruct.Speed = LL_GPIO_SPEED_FREQ_LOW;
  GPIO_InitStruct.OutputType = LL_GPIO_OUTPUT_PUSHPULL;
  GPIO_InitStruct.Pull = LL_GPIO_PULL_NO;
  LL_GPIO_Init(SYS_LED_0_GPIO_Port, &GPIO_InitStruct);

  /**/
  GPIO_InitStruct.Pin = SYS_LED_1_Pin;
  GPIO_InitStruct.Mode = LL_GPIO_MODE_OUTPUT;
  GPIO_InitStruct.Speed = LL_GPIO_SPEED_FREQ_LOW;
  GPIO_InitStruct.OutputType = LL_GPIO_OUTPUT_PUSHPULL;
  GPIO_InitStruct.Pull = LL_GPIO_PULL_NO;
  LL_GPIO_Init(SYS_LED_1_GPIO_Port, &GPIO_InitStruct);

  /**/
  GPIO_InitStruct.Pin = LL_GPIO_PIN_2;
  GPIO_InitStruct.Mode = LL_GPIO_MODE_OUTPUT;
  GPIO_InitStruct.Speed = LL_GPIO_SPEED_FREQ_VERY_HIGH;
  GPIO_InitStruct.OutputType = LL_GPIO_OUTPUT_PUSHPULL;
  GPIO_InitStruct.Pull = LL_GPIO_PULL_NO;
  LL_GPIO_Init(GPIOA, &GPIO_InitStruct);

  /**/
  GPIO_InitStruct.Pin = SYS_Key_Pin;
  GPIO_InitStruct.Mode = LL_GPIO_MODE_INPUT;
  GPIO_InitStruct.Pull = LL_GPIO_PULL_NO;
  LL_GPIO_Init(SYS_Key_GPIO_Port, &GPIO_InitStruct);

  /**/
  GPIO_InitStruct.Pin = PWM_CH2N_Pin;
  GPIO_InitStruct.Mode = LL_GPIO_MODE_OUTPUT;
  GPIO_InitStruct.Speed = LL_GPIO_SPEED_FREQ_LOW;
  GPIO_InitStruct.OutputType = LL_GPIO_OUTPUT_PUSHPULL;
  GPIO_InitStruct.Pull = LL_GPIO_PULL_NO;
  LL_GPIO_Init(PWM_CH2N_GPIO_Port, &GPIO_InitStruct);

  /**/
  GPIO_InitStruct.Pin = SYS_FAN_Pin;
  GPIO_InitStruct.Mode = LL_GPIO_MODE_OUTPUT;
  GPIO_InitStruct.Speed = LL_GPIO_SPEED_FREQ_LOW;
  GPIO_InitStruct.OutputType = LL_GPIO_OUTPUT_PUSHPULL;
  GPIO_InitStruct.Pull = LL_GPIO_PULL_NO;
  LL_GPIO_Init(SYS_FAN_GPIO_Port, &GPIO_InitStruct);

  /**/
  GPIO_InitStruct.Pin = PWM_CH3N_Pin;
  GPIO_InitStruct.Mode = LL_GPIO_MODE_OUTPUT;
  GPIO_InitStruct.Speed = LL_GPIO_SPEED_FREQ_LOW;
  GPIO_InitStruct.OutputType = LL_GPIO_OUTPUT_PUSHPULL;
  GPIO_InitStruct.Pull = LL_GPIO_PULL_NO;
  LL_GPIO_Init(PWM_CH3N_GPIO_Port, &GPIO_InitStruct);

}

void Error_Handler(void)
{
  __disable_irq();
  while (1)
  {
  }
}
